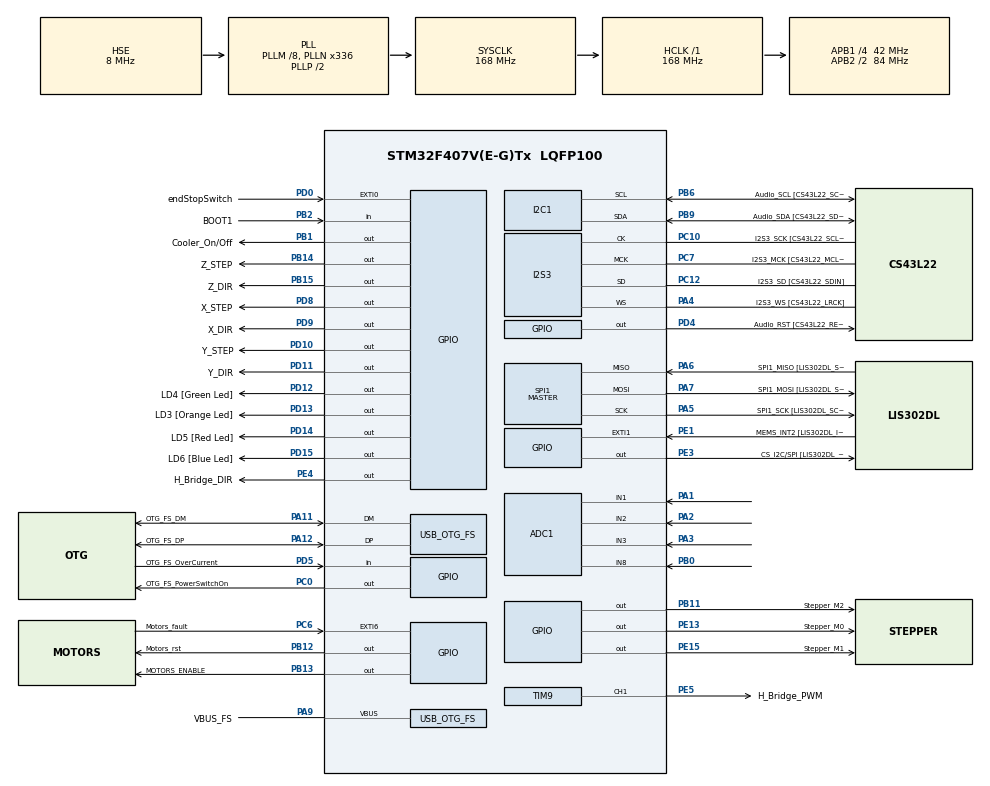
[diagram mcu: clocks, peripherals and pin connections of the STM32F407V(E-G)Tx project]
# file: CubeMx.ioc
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ADC1.Channel-0\#ChannelRegularConversion=ADC_CHANNEL_1
ADC1.Channel-1\#ChannelRegularConversion=ADC_CHANNEL_2
ADC1.Channel-2\#ChannelRegularConversion=ADC_CHANNEL_3
ADC1.Channel-3\#ChannelRegularConversion=ADC_CHANNEL_8
ADC1.ContinuousConvMode=ENABLE
ADC1.DMAContinuousRequests=ENABLE
ADC1.NbrOfConversion=4
ADC1.NbrOfConversionFlag=1
ADC1.Rank-0\#ChannelRegularConversion=1
ADC1.Rank-1\#ChannelRegularConversion=2
ADC1.Rank-2\#ChannelRegularConversion=3
ADC1.Rank-3\#ChannelRegularConversion=4
ADC1.SamplingTime-0\#ChannelRegularConversion=ADC_SAMPLETIME_84CYCLES
ADC1.SamplingTime-1\#ChannelRegularConversion=ADC_SAMPLETIME_84CYCLES
ADC1.SamplingTime-2\#ChannelRegularConversion=ADC_SAMPLETIME_84CYCLES
ADC1.SamplingTime-3\#ChannelRegularConversion=ADC_SAMPLETIME_84CYCLES
ADC1.ScanConvMode=ENABLE
ADC1.master=1
Dma.ADC1.0.Direction=DMA_PERIPH_TO_MEMORY
Dma.ADC1.0.FIFOMode=DMA_FIFOMODE_DISABLE
Dma.ADC1.0.Instance=DMA2_Stream0
Dma.ADC1.0.MemDataAlignment=DMA_MDATAALIGN_HALFWORD
Dma.ADC1.0.MemInc=DMA_MINC_ENABLE
Dma.ADC1.0.Mode=DMA_CIRCULAR
Dma.ADC1.0.PeriphDataAlignment=DMA_PDATAALIGN_HALFWORD
Dma.ADC1.0.PeriphInc=DMA_PINC_DISABLE
Dma.ADC1.0.Priority=DMA_PRIORITY_LOW
Dma.Request0=ADC1
I2S3.AudioFreq-Half_Duplex_Master=I2S_AUDIOFREQ_96K
I2S3.ErrorAudioFreq=-2.34 %
I2S3.ErrorAudioFreq-Half_Duplex_Master=0.8 %
I2S3.FullDuplexMode=I2S_FULLDUPLEXMODE_DISABLE
I2S3.Instance=SPI$Index
I2S3.RealAudioFreq=93.75 KHz
I2S3.RealAudioFreq-Half_Duplex_Master=96.774 KHz
I2S3.VirtualMode=I2S_MODE_MASTER
Mcu.Family=STM32F4
Mcu.Name=STM32F407V(E-G)Tx
Mcu.Package=LQFP100
NVIC.DMA2_Stream0_IRQn=true\:0\:0\:false\:false\:true\:false\:true\:true
NVIC.EXTI0_IRQn=true\:0\:0\:false\:false\:true\:true\:true\:true
NVIC.EXTI9_5_IRQn=true\:0\:0\:false\:false\:true\:true\:true\:true
NVIC.OTG_FS_IRQn=true\:0\:0\:false\:false\:true\:true\:true\:true
NVIC.PriorityGroup=NVIC_PRIORITYGROUP_0
NVIC.TIM2_IRQn=true\:0\:0\:false\:false\:true\:true\:true\:true
NVIC.TIM3_IRQn=true\:0\:0\:false\:false\:true\:true\:true\:true
PA1.Signal=ADCx_IN1
PA10.GPIO_Label=OTG_FS_ID
PA10.GPIO_Mode=GPIO_MODE_AF_PP
PA10.GPIO_PuPd=GPIO_NOPULL
PA10.GPIO_Speed=GPIO_SPEED_FREQ_LOW
PA10.Signal=USB_OTG_FS_ID
PA11.GPIO_Label=OTG_FS_DM
PA11.GPIO_Mode=GPIO_MODE_AF_PP
PA11.GPIO_PuPd=GPIO_NOPULL
PA11.GPIO_Speed=GPIO_SPEED_FREQ_LOW
PA11.Mode=Device_Only
PA11.Signal=USB_OTG_FS_DM
PA12.GPIO_Label=OTG_FS_DP
PA12.GPIO_Mode=GPIO_MODE_AF_PP
PA12.GPIO_PuPd=GPIO_NOPULL
PA12.GPIO_Speed=GPIO_SPEED_FREQ_LOW
PA12.Mode=Device_Only
PA12.Signal=USB_OTG_FS_DP
PA13.GPIO_Label=SWDIO
PA13.Mode=Serial_Wire
PA13.Signal=SYS_JTMS-SWDIO
PA14.GPIO_Label=SWCLK
PA14.Mode=Serial_Wire
PA14.Signal=SYS_JTCK-SWCLK
PA2.Signal=ADCx_IN2
PA3.Signal=ADCx_IN3
PA4.GPIO_Label=I2S3_WS [CS43L22_LRCK]
PA4.GPIO_Mode=GPIO_MODE_AF_PP
PA4.GPIO_PuPd=GPIO_NOPULL
PA4.GPIO_Speed=GPIO_SPEED_FREQ_LOW
PA4.Mode=Half_Duplex_Master
PA4.Signal=I2S3_WS
PA5.GPIO_Label=SPI1_SCK [LIS302DL_SCL/SPC]
PA5.GPIO_Mode=GPIO_MODE_AF_PP
PA5.GPIO_PuPd=GPIO_NOPULL
PA5.GPIO_Speed=GPIO_SPEED_FREQ_LOW
PA5.Mode=Full_Duplex_Master
PA5.Signal=SPI1_SCK
PA6.GPIO_Label=SPI1_MISO [LIS302DL_SDO]
PA6.GPIO_Mode=GPIO_MODE_AF_PP
PA6.GPIO_PuPd=GPIO_NOPULL
PA6.GPIO_Speed=GPIO_SPEED_FREQ_LOW
PA6.Mode=Full_Duplex_Master
PA6.Signal=SPI1_MISO
PA7.GPIO_Label=SPI1_MOSI [LIS302DL_SDA/SDI/SDO]
PA7.GPIO_Mode=GPIO_MODE_AF_PP
PA7.GPIO_PuPd=GPIO_NOPULL
PA7.GPIO_Speed=GPIO_SPEED_FREQ_LOW
PA7.Mode=Full_Duplex_Master
PA7.Signal=SPI1_MOSI
PA9.GPIO_Label=VBUS_FS
PA9.GPIO_Mode=GPIO_MODE_INPUT
PA9.GPIO_PuPd=GPIO_NOPULL
PA9.Mode=Activate_VBUS
PA9.Signal=USB_OTG_FS_VBUS
PB0.Signal=ADCx_IN8
PB1.GPIO_Label=Cooler_On/Off
PB1.Signal=GPIO_Output
PB10.GPIO_Label=CLK_IN [MP45DT02_CLK]
PB10.GPIO_Mode=GPIO_MODE_AF_PP
PB10.GPIO_PuPd=GPIO_NOPULL
PB10.GPIO_Speed=GPIO_SPEED_FREQ_LOW
PB10.Signal=I2S2_CK
PB11.GPIO_Label=Stepper_M2
PB11.Signal=GPIO_Output
PB12.GPIO_Label=Motors_rst
PB12.Signal=GPIO_Output
PB13.GPIO_Label=MOTORS_ENABLE
PB13.Signal=GPIO_Output
PB14.GPIO_Label=Z_STEP
PB14.Signal=GPIO_Output
PB15.GPIO_Label=Z_DIR
PB15.Signal=GPIO_Output
PB2.GPIO_Label=BOOT1
PB2.GPIO_Mode=GPIO_MODE_INPUT
PB2.GPIO_PuPd=GPIO_NOPULL
PB2.Signal=GPIO_Input
PB3.GPIO_Label=SWO
PB3.Signal=SYS_JTDO-SWO
PB6.GPIO_Label=Audio_SCL [CS43L22_SCL]
PB6.GPIO_Mode=GPIO_MODE_AF_OD
PB6.GPIO_Pu=GPIO_PULLUP
PB6.GPIO_PuPd=GPIO_NOPULL
PB6.GPIO_Speed=GPIO_SPEED_FREQ_LOW
PB6.Mode=I2C
PB6.Signal=I2C1_SCL
PB9.GPIO_Label=Audio_SDA [CS43L22_SDA]
PB9.GPIO_Mode=GPIO_MODE_AF_OD
PB9.GPIO_Pu=GPIO_PULLUP
PB9.GPIO_PuPd=GPIO_NOPULL
PB9.GPIO_Speed=GPIO_SPEED_FREQ_LOW
PB9.Mode=I2C
PB9.Signal=I2C1_SDA
PC0.GPIO_Label=OTG_FS_PowerSwitchOn
PC0.GPIO_PuPd=GPIO_NOPULL
PC0.GPIO_Speed=GPIO_SPEED_FREQ_LOW
PC0.PinState=GPIO_PIN_SET
PC0.Signal=GPIO_Output
PC10.GPIO_Label=I2S3_SCK [CS43L22_SCLK]
PC10.GPIO_Mode=GPIO_MODE_AF_PP
PC10.GPIO_PuPd=GPIO_NOPULL
PC10.GPIO_Speed=GPIO_SPEED_FREQ_LOW
PC10.Mode=Half_Duplex_Master
PC10.Signal=I2S3_CK
PC12.GPIO_Label=I2S3_SD [CS43L22_SDIN]
PC12.GPIO_Mode=GPIO_MODE_AF_PP
PC12.GPIO_PuPd=GPIO_NOPULL
PC12.GPIO_Speed=GPIO_SPEED_FREQ_LOW
PC12.Mode=Half_Duplex_Master
PC12.Signal=I2S3_SD
PC14-OSC32_IN.GPIO_Label=PC14-OSC32_IN
PC14-OSC32_IN.Mode=LSE-External-Oscillator
PC14-OSC32_IN.Signal=RCC_OSC32_IN
PC15-OSC32_OUT.GPIO_Label=PC15-OSC32_OUT
PC15-OSC32_OUT.Mode=LSE-External-Oscillator
PC15-OSC32_OUT.Signal=RCC_OSC32_OUT
PC3.GPIO_Label=PDM_OUT [MP45DT02_DOUT]
PC3.GPIO_Mode=GPIO_MODE_AF_PP
PC3.GPIO_PuPd=GPIO_NOPULL
PC3.GPIO_Speed=GPIO_SPEED_FREQ_LOW
PC3.Signal=I2S2_SD
PC6.GPIO_Label=Motors_fault
PC6.GPIO_ModeDefaultEXTI=GPIO_MODE_IT_RISING_FALLING
PC6.GPIO_PuPd=GPIO_PULLUP
PC6.Signal=GPXTI6
PC7.GPIO_Label=I2S3_MCK [CS43L22_MCLK]
PC7.GPIO_Mode=GPIO_MODE_AF_PP
PC7.GPIO_PuPd=GPIO_NOPULL
PC7.GPIO_Speed=GPIO_SPEED_FREQ_LOW
PC7.Mode=Master_Clock_Activated
PC7.Signal=I2S3_MCK
PD0.GPIO_Label=endStopSwitch
PD0.GPIO_ModeDefaultEXTI=GPIO_MODE_IT_FALLING
PD0.GPIO_PuPd=GPIO_PULLUP
PD0.Signal=GPXTI0
PD10.GPIO_Label=Y_STEP
PD10.Signal=GPIO_Output
PD11.GPIO_Label=Y_DIR
PD11.Signal=GPIO_Output
PD12.GPIO_Label=LD4 [Green Led]
PD12.GPIO_PuPd=GPIO_NOPULL
PD12.GPIO_Speed=GPIO_SPEED_FREQ_LOW
PD12.Signal=GPIO_Output
PD13.GPIO_Label=LD3 [Orange Led]
PD13.GPIO_PuPd=GPIO_NOPULL
PD13.GPIO_Speed=GPIO_SPEED_FREQ_LOW
PD13.Signal=GPIO_Output
PD14.GPIO_Label=LD5 [Red Led]
PD14.GPIO_PuPd=GPIO_NOPULL
PD14.GPIO_Speed=GPIO_SPEED_FREQ_LOW
PD14.Signal=GPIO_Output
PD15.GPIO_Label=LD6 [Blue Led]
PD15.GPIO_PuPd=GPIO_NOPULL
PD15.GPIO_Speed=GPIO_SPEED_FREQ_LOW
PD15.Signal=GPIO_Output
PD4.GPIO_Label=Audio_RST [CS43L22_RESET]
PD4.GPIO_PuPd=GPIO_NOPULL
PD4.GPIO_Speed=GPIO_SPEED_FREQ_LOW
PD4.Signal=GPIO_Output
PD5.GPIO_Label=OTG_FS_OverCurrent
PD5.GPIO_Mode=GPIO_MODE_INPUT
PD5.GPIO_PuPd=GPIO_NOPULL
PD5.Signal=GPIO_Input
PD8.GPIO_Label=X_STEP
PD8.Signal=GPIO_Output
PD9.GPIO_Label=X_DIR
PD9.Signal=GPIO_Output
PE1.GPIO_Label=MEMS_INT2 [LIS302DL_INT2]
PE1.GPIO_ModeDefaultEXTI=GPIO_MODE_EVT_RISING
PE1.GPIO_PuPd=GPIO_NOPULL
PE1.Signal=GPXTI1
PE13.GPIO_Label=Stepper_M0
PE13.Signal=GPIO_Output
PE15.GPIO_Label=Stepper_M1
PE15.Signal=GPIO_Output
PE3.GPIO_Label=CS_I2C/SPI [LIS302DL_CS_I2C/SPI]
PE3.GPIO_PuPd=GPIO_NOPULL
PE3.GPIO_Speed=GPIO_SPEED_FREQ_LOW
PE3.Signal=GPIO_Output
PE4.GPIO_Label=H_Bridge_DIR
PE4.Signal=GPIO_Output
PE5.GPIO_Label=H_Bridge_PWM
PE5.Signal=S_TIM9_CH1
PH0-OSC_IN.GPIO_Label=PH0-OSC_IN
PH0-OSC_IN.Mode=HSE-External-Oscillator
PH0-OSC_IN.Signal=RCC_OSC_IN
PH1-OSC_OUT.GPIO_Label=PH1-OSC_OUT
PH1-OSC_OUT.Mode=HSE-External-Oscillator
PH1-OSC_OUT.Signal=RCC_OSC_OUT
ProjectManager.HeapSize=0x200
ProjectManager.StackSize=0x400
ProjectManager.TargetToolchain=CMake
RCC.48MHZClocksFreq_Value=48000000
RCC.AHBFreq_Value=168000000
RCC.APB1CLKDivider=RCC_HCLK_DIV4
RCC.APB1Freq_Value=42000000
RCC.APB1TimFreq_Value=84000000
RCC.APB2CLKDivider=RCC_HCLK_DIV2
RCC.APB2Freq_Value=84000000
RCC.APB2TimFreq_Value=168000000
RCC.CortexFreq_Value=168000000
RCC.HCLKFreq_Value=168000000
RCC.HSE_VALUE=8000000
RCC.HSI_VALUE=16000000
RCC.PLLM=8
RCC.PLLN=336
RCC.PLLQ=7
RCC.SYSCLKFreq_VALUE=168000000
RCC.SYSCLKSource=RCC_SYSCLKSOURCE_PLLCLK
RCC.VCOOutputFreq_Value=336000000
SH.ADCx_IN1.0=ADC1_IN1,IN1
SH.ADCx_IN2.0=ADC1_IN2,IN2
SH.ADCx_IN3.0=ADC1_IN3,IN3
SH.ADCx_IN8.0=ADC1_IN8,IN8
SH.S_TIM9_CH1.0=TIM9_CH1,PWM Generation1 CH1
SPI1.BaudRatePrescaler-Full_Duplex_Master=SPI_BAUDRATEPRESCALER_2
SPI1.CalculateBaudRate-Full_Duplex_Master=42.0 MBits/s
SPI1.Direction=SPI_DIRECTION_2LINES
SPI1.Mode=SPI_MODE_MASTER
SPI1.Mode-Full_Duplex_Master=SPI_MODE_MASTER
SPI1.VirtualType=VM_MASTER
TIM2.Period=99
TIM2.Prescaler=83
TIM2.TIM_MasterOutputTrigger=TIM_TRGO_UPDATE
TIM3.Period=1999
TIM3.Prescaler=8399
TIM3.TIM_MasterOutputTrigger=TIM_TRGO_UPDATE
TIM9.AutoReloadPreload=TIM_AUTORELOAD_PRELOAD_DISABLE
TIM9.Channel-PWM\ Generation1\ CH1=TIM_CHANNEL_1
TIM9.Period=124
TIM9.Prescaler=83
USB_DEVICE.CLASS_NAME_FS=CDC
USB_DEVICE.VirtualMode-CDC_FS=Cdc
USB_DEVICE.VirtualModeFS=Cdc_FS
USB_OTG_FS.VirtualMode=Device_Only
VP_TIM2_VS_ClockSourceINT.Mode=Internal
VP_TIM3_VS_ClockSourceINT.Mode=Internal
VP_USB_DEVICE_VS_USB_DEVICE_CDC_FS.Mode=CDC_FS
board=STM32F407G-DISC1

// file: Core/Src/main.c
/* USER CODE BEGIN Header */
/**
  ******************************************************************************
  * @file           : main.c
  * @brief          : Main program body
  ******************************************************************************
  * @attention
  *
  * Copyright (c) 2026 STMicroelectronics.
  * All rights reserved.
  *
  * This software is licensed under terms that can be found in the LICENSE file
  * in the root directory of this software component.
  * If no LICENSE file comes with this software, it is provided AS-IS.
  *
  ******************************************************************************
  */
/* USER CODE END Header */
#include "main.h"
#include "adc.h"
#include "data.h"
#include "dma.h"
#include "i2c.h"
#include "i2s.h"
#include "spi.h"
#include "tim.h"
#include "usb_device.h"
#include "gpio.h"

/* USER CODE BEGIN Includes */
#include "stateMachine.h"
#include "globals.h"
#include "stepper.h"
#include "temperature.h"
#include "spindleMotor.h"
#include <stdint.h>
#include "config.h"
/* USER CODE END Includes */

/* USER CODE BEGIN PV */
uint8_t UserRxBuffer[64];
uint8_t DataReady = 0;
/* USER CODE END PV */

void SystemClock_Config(void);

int main(void)
{

  /* MCU Configuration--------------------------------------------------------*/

  /* Reset of all peripherals, Initializes the Flash interface and the Systick. */
  HAL_Init();

  /* Configure the system clock */
  SystemClock_Config();

  /* Initialize all configured peripherals */
  MX_GPIO_Init();
  MX_DMA_Init();
  MX_I2C1_Init();
  MX_I2S3_Init();
  MX_SPI1_Init();
  MX_USB_DEVICE_Init();
  MX_TIM9_Init();
  MX_TIM2_Init();
  MX_TIM3_Init();
  MX_ADC1_Init();
  /* USER CODE BEGIN 2 */
  millingMachineInit(); //init of state machine, initialisiert auch motoren, Kommunikation
  /* USER CODE END 2 */

  /* Infinite loop */
  /* USER CODE BEGIN WHILE */
  send_ack();
  while (1)
  {
    updateStateMachine();
    /* USER CODE END WHILE */

    }
}

void SystemClock_Config(void)
{
  RCC_OscInitTypeDef RCC_OscInitStruct = {0};
  RCC_ClkInitTypeDef RCC_ClkInitStruct = {0};

  /** Configure the main internal regulator output voltage
  */
  __HAL_RCC_PWR_CLK_ENABLE();
  __HAL_PWR_VOLTAGESCALING_CONFIG(PWR_REGULATOR_VOLTAGE_SCALE1);

  /** Initializes the RCC Oscillators according to the specified parameters
  * in the RCC_OscInitTypeDef structure.
  */
  RCC_OscInitStruct.OscillatorType = RCC_OSCILLATORTYPE_HSE;
  RCC_OscInitStruct.HSEState = RCC_HSE_ON;
  RCC_OscInitStruct.PLL.PLLState = RCC_PLL_ON;
  RCC_OscInitStruct.PLL.PLLSource = RCC_PLLSOURCE_HSE;
  RCC_OscInitStruct.PLL.PLLM = 8;
  RCC_OscInitStruct.PLL.PLLN = 336;
  RCC_OscInitStruct.PLL.PLLP = RCC_PLLP_DIV2;
  RCC_OscInitStruct.PLL.PLLQ = 7;
  if (HAL_RCC_OscConfig(&RCC_OscInitStruct) != HAL_OK)
  {
    Error_Handler();
  }

  /** Initializes the CPU, AHB and APB buses clocks
  */
  RCC_ClkInitStruct.ClockType = RCC_CLOCKTYPE_HCLK|RCC_CLOCKTYPE_SYSCLK
                              |RCC_CLOCKTYPE_PCLK1|RCC_CLOCKTYPE_PCLK2;
  RCC_ClkInitStruct.SYSCLKSource = RCC_SYSCLKSOURCE_PLLCLK;
  RCC_ClkInitStruct.AHBCLKDivider = RCC_SYSCLK_DIV1;
  RCC_ClkInitStruct.APB1CLKDivider = RCC_HCLK_DIV4;
  RCC_ClkInitStruct.APB2CLKDivider = RCC_HCLK_DIV2;

  if (HAL_RCC_ClockConfig(&RCC_ClkInitStruct, FLASH_LATENCY_5) != HAL_OK)
  {
    Error_Handler();
  }
}

/* USER CODE BEGIN 4 */
void HAL_TIM_PeriodElapsedCallback(TIM_HandleTypeDef *htim){

  //* Timerinterrupt alle 200ms ///////////////////////////////////////////////////////////////////////////
    if (htim->Instance == TIM3){

        //* Überprüfen der Temperatur der Elektronik, ggf. Lüfter einschalten
        temp_messung();

        //* Position der Motoren an GUI schicken
        static float xpos_send = 0;
        static float ypos_send = 0;
        static float zpos_send = 0;
        if (millingMachine.state == MILLING || millingMachine.state == DRILLING){
            xpos_send = steps2mm(motorX.current_pos);
            ypos_send = -steps2mm(motorY.current_pos);
            zpos_send = steps2mm(motorZ.current_pos);
            // nur wenn gerade gefräst wird, werden Daten gesendet
            send_position(xpos_send, ypos_send, zpos_send, temp-273.15f);
        }
        // else if(millingMachine.state == OVERHEATED){
        //   // wenn faul pin ==0 -> overheated 999
        //   send_position(xpos_send, ypos_send, zpos_send, 999.0f);
        // }

        //* Zähler zum Hochfahren des Spindelmotors
        static uint8_t spindleMotorCnt = 0;
        if(spindleMotor.state == STARTING){
          spindleMotorCnt ++;
          if(spindleMotorCnt == spindleMotor_startingTime*5){   // 200ms Interruptfrequenz
            spindleMotor.state = RUNNING;
            spindleMotorCnt = 0;
          }
        }
    }

    //* Timer für Linearmotoren  /////////////////////////////////////////////////////////////////////////////
     // Stepper läuft über Timer-Interrupt.
    if (htim->Instance == TIM2) {
      // Stepper werden nur geupdated, wenn nicht in folgenden States
      if (millingMachine.state != READY     &&
          millingMachine.state != FAIL_SAFE &&
          millingMachine.state != TRANSFER  &&
          millingMachine.state != INITIAL   &&
          millingMachine.state != PAUSED){
        Stepper_Update();
      }
      // in PAUSED kann die z Achse geupdated werden, um den Spindelmotor aus dem Werkstück freizufahren
      if(millingMachine.state == PAUSED){
        Stepper_UpdateZ();
      }

    }

  }
/* USER CODE END 4 */

void Error_Handler(void)
{
  __disable_irq();
  while (1)
  {
  }
}
